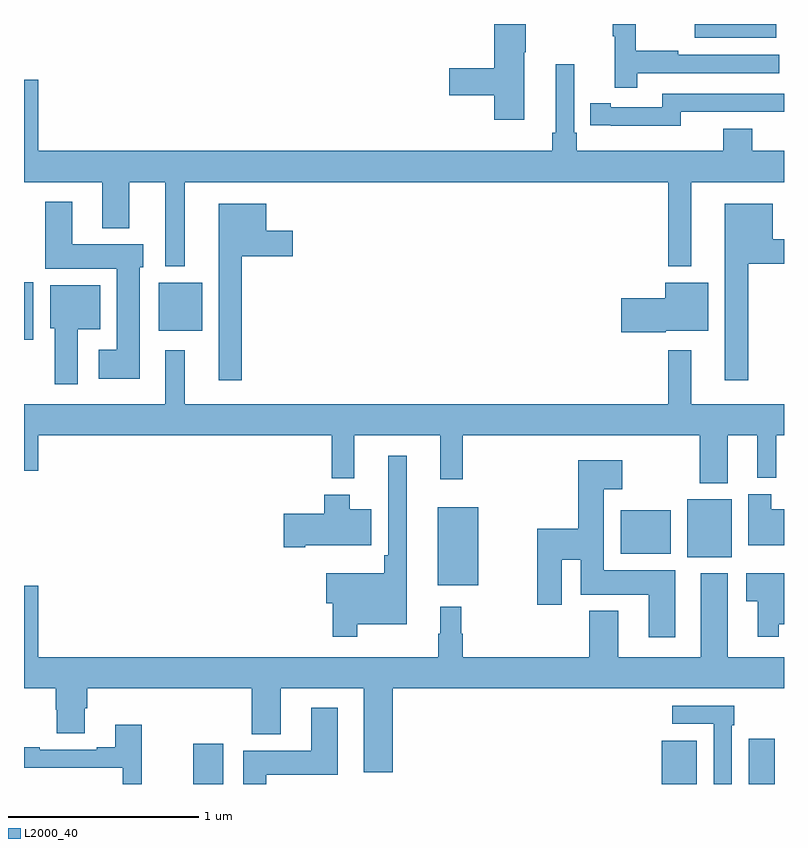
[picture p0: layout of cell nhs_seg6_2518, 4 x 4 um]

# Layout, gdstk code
import gdstk
lib = gdstk.Library(unit=1e-6, precision=1e-09)
def R(c, l, rs):  # rectangles x0, y0, x1, y1
    for r in rs: c.add(gdstk.rectangle(r[:2], r[2:], *l))
def P(c, l, *ps):  # polygons
    for p in ps: c.add(gdstk.Polygon(p, *l))
L2000_40 = (2000, 40)

nhs_seg6_2518 = lib.new_cell('nhs_seg6_2518')
R(nhs_seg6_2518, L2000_40, [(261.89,945.5,262.048,945.712), (264.356,945.5,264.541,945.727), (264.815,945.5,264.952,945.739), (263.177,946.547,263.392,946.957), (264.491,946.694,264.724,946.999), (264.14,946.712,264.403,946.942), (261,947.837,261.049,948.142), (261.71,947.885,261.937,948.139), (264.531,949.427,264.958,949.5)])
P(nhs_seg6_2518, L2000_40, [(263.632,949.351),(263.64,949.351),(263.64,949.5),(263.474,949.5),(263.474,949.268),(263.238,949.268),(263.238,949.126),(263.474,949.126),(263.474,948.996),(263.632,948.996)],
  [(264.227,949.242),(264.976,949.242),(264.976,949.338),(264.443,949.338),(264.443,949.358),(264.22,949.358),(264.22,949.5),(264.099,949.5),(264.099,949.435),(264.11,949.435),(264.11,949.164),(264.227,949.164)],
  [(261.847,948.668),(264.39,948.668),(264.39,948.224),(264.511,948.224),(264.511,948.668),(265,948.668),(265,948.832),(264.833,948.832),(264.833,948.949),(264.68,948.949),(264.68,948.832),(263.909,948.832),(263.909,948.928),(263.895,948.928),(263.895,949.288),(263.798,949.288),(263.798,948.928),(263.779,948.928),(263.779,948.832),(261.076,948.832),(261.076,949.207),(261,949.207),(261,948.668),(261.413,948.668),(261.413,948.425),(261.553,948.425),(261.553,948.668),(261.743,948.668),(261.743,948.224),(261.847,948.224)],
  [(264.456,949.038),(264.916,949.038),(264.916,949.037),(265,949.037),(265,949.134),(264.36,949.134),(264.36,949.062),(264.088,949.062),(264.088,949.082),(263.98,949.082),(263.98,948.966),(264.088,948.966),(264.088,948.965),(264.456,948.965)],
  [(261.61,948.219),(261.628,948.219),(261.628,948.34),(261.253,948.34),(261.253,948.565),(261.113,948.565),(261.113,948.212),(261.488,948.212),(261.488,947.785),(261.393,947.785),(261.393,947.633),(261.61,947.633)],
  [(264.811,948.238),(265,948.238),(265,948.367),(264.94,948.367),(264.94,948.553),(264.689,948.553),(264.689,947.625),(264.811,947.625)],
  [(262.147,948.278),(262.414,948.278),(262.414,948.412),(262.276,948.412),(262.276,948.553),(262.025,948.553),(262.025,947.625),(262.147,947.625)],
  [(264.378,947.885),(264.601,947.885),(264.601,948.139),(264.374,948.139),(264.374,948.056),(264.144,948.056),(264.144,947.878),(264.378,947.878)],
  [(261.283,947.894),(261.4,947.894),(261.4,948.124),(261.137,948.124),(261.137,947.898),(261.161,947.898),(261.161,947.604),(261.283,947.604)],
  [(264.703,947.336),(264.86,947.336),(264.86,947.111),(264.959,947.111),(264.959,947.336),(265,947.336),(265,947.5),(264.511,947.5),(264.511,947.782),(264.39,947.782),(264.39,947.5),(261.847,947.5),(261.847,947.782),(261.743,947.782),(261.743,947.5),(261,947.5),(261,947.148),(261.076,947.148),(261.076,947.336),(262.621,947.336),(262.621,947.108),(262.739,947.108),(262.739,947.336),(263.192,947.336),(263.192,947.103),(263.309,947.103),(263.309,947.336),(264.556,947.336),(264.556,947.084),(264.703,947.084)],
  [(262.753,946.34),(263.014,946.34),(263.014,947.227),(262.917,947.227),(262.917,946.705),(262.897,946.705),(262.897,946.609),(262.59,946.609),(262.59,946.451),(262.624,946.451),(262.624,946.275),(262.753,946.275)],
  [(264.427,946.624),(264.052,946.624),(264.052,947.051),(264.148,947.051),(264.148,947.203),(263.918,947.203),(263.918,946.844),(263.701,946.844),(263.701,946.443),(263.83,946.443),(263.83,946.679),(263.93,946.679),(263.93,946.496),(264.287,946.496),(264.287,946.272),(264.427,946.272)],
  [(265,946.945),(264.934,946.945),(264.934,947.026),(264.812,947.026),(264.812,946.757),(265,946.757)],
  [(262.48,946.757),(262.828,946.757),(262.828,946.945),(262.714,946.945),(262.714,947.023),(262.58,947.023),(262.58,946.923),(262.368,946.923),(262.368,946.745),(262.48,946.745)],
  [(264.973,946.34),(265,946.34),(265,946.609),(264.8,946.609),(264.8,946.462),(264.863,946.462),(264.863,946.275),(264.973,946.275)],
  [(262.94,946.004),(265,946.004),(265,946.168),(264.703,946.168),(264.703,946.609),(264.563,946.609),(264.563,946.168),(264.127,946.168),(264.127,946.411),(263.975,946.411),(263.975,946.168),(263.309,946.168),(263.309,946.292),(263.302,946.292),(263.302,946.432),(263.192,946.432),(263.192,946.292),(263.181,946.292),(263.181,946.168),(261.076,946.168),(261.076,946.543),(261,946.543),(261,946.004),(261.166,946.004),(261.166,945.891),(261.172,945.891),(261.172,945.766),(261.319,945.766),(261.319,945.898),(261.332,945.898),(261.332,946.004),(262.199,946.004),(262.199,945.761),(262.351,945.761),(262.351,946.004),(262.787,946.004),(262.787,945.563),(262.94,945.563)],
  [(264.726,945.809),(264.739,945.809),(264.739,945.912),(264.411,945.912),(264.411,945.816),(264.63,945.816),(264.63,945.5),(264.726,945.5)],
  [(262.276,945.548),(262.651,945.548),(262.651,945.901),(262.511,945.901),(262.511,945.676),(262.154,945.676),(262.154,945.5),(262.276,945.5)],
  [(261.62,945.811),(261.479,945.811),(261.479,945.694),(261.383,945.694),(261.383,945.681),(261.083,945.681),(261.083,945.694),(261,945.694),(261,945.585),(261.519,945.585),(261.519,945.5),(261.62,945.5)])

lib.write_gds('nhs_seg6_2518.gds')
